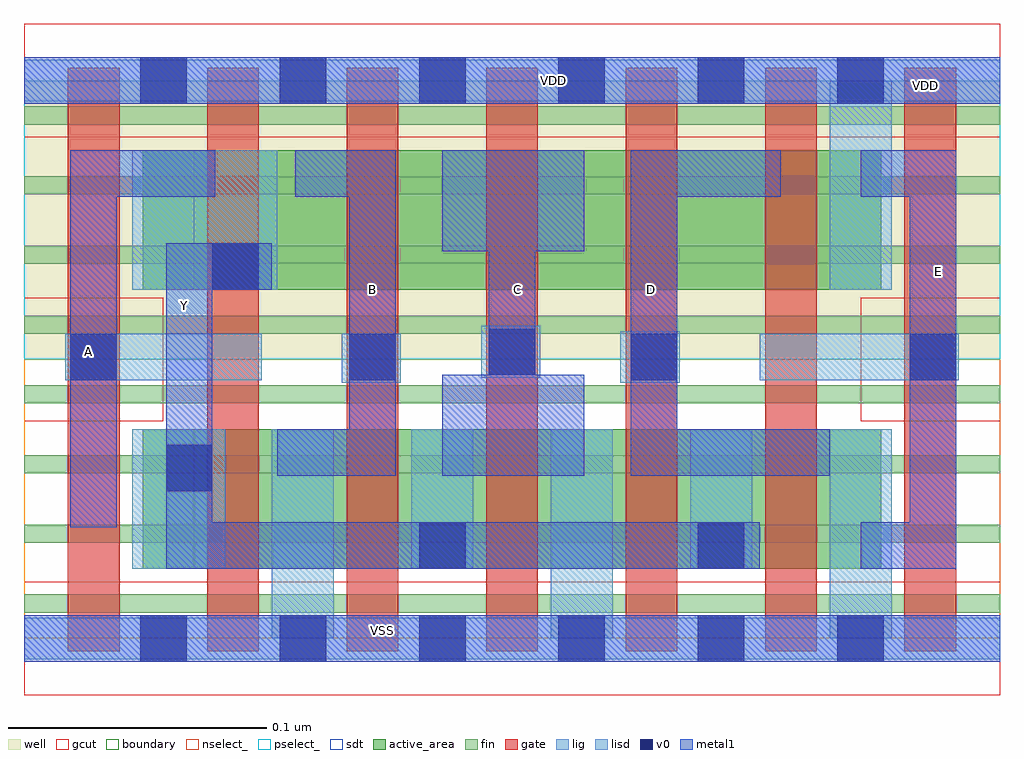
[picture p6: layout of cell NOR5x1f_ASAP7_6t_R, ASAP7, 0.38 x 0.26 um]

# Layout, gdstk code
import gdstk
lib = gdstk.Library(unit=1e-6, precision=2.5e-10)
def R(c, l, rs):  # rectangles x0, y0, x1, y1
    for r in rs: c.add(gdstk.rectangle(r[:2], r[2:], *l))
def A(c, l, x, y, w, h, nx, ny, dx, dy):  # array of equal rectangles
    R(c, l, [(x+i*dx, y+j*dy, x+i*dx+w, y+j*dy+h) for i in range(nx) for j in range(ny)])
def P(c, l, *ps):  # polygons
    for p in ps: c.add(gdstk.Polygon(p, *l))
well = (1, 0)
fin = (2, 0)
gate = (7, 0)
gcut = (10, 0)
active_area = (11, 0)
nselect_ = (12, 0)
pselect_ = (13, 0)
lig = (16, 0)
lisd = (17, 0)
v0 = (18, 0)
metal1 = (19, 0)
sdt = (88, 0)
boundary = (100, 0)

nor5x1f_asap7_6t_r = lib.new_cell('NOR5x1f_ASAP7_6t_R')
R(nor5x1f_asap7_6t_r, well, [(0,0.108,0.378,0.216)])
A(nor5x1f_asap7_6t_r, fin, 0, 0.01, 0.378, 0.007, 1, 7, 0, 0.027)
R(nor5x1f_asap7_6t_r, fin, [(0,0.172,0.378,0.179), (0,0.199,0.378,0.206), (0,0.199,0.378,0.206)])
A(nor5x1f_asap7_6t_r, gate, 0.017, -0.005, 0.02, 0.226, 7, 1, 0.054, 0)
R(nor5x1f_asap7_6t_r, gcut, [(0,-0.022,0.378,0.022), (0,0.084,0.054,0.132), (0.324,0.084,0.378,0.132), (0,0.194,0.378,0.238)])
R(nor5x1f_asap7_6t_r, active_area, [(0.046,0.027,0.332,0.081), (0.046,0.135,0.332,0.189)])
R(nor5x1f_asap7_6t_r, nselect_, [(0,0,0.378,0.108)])
R(nor5x1f_asap7_6t_r, pselect_, [(0,0.108,0.378,0.216)])
R(nor5x1f_asap7_6t_r, lig, [(0,-0.008,0.378,0.008), (0.123,0.099,0.146,0.118), (0.231,0.099,0.254,0.119), (0.016,0.1,0.092,0.118), (0.285,0.1,0.362,0.118), (0.177,0.101,0.2,0.121), (0,0.208,0.378,0.224)])
A(nor5x1f_asap7_6t_r, lisd, 0.096, 0, 0.024, 0.081, 3, 1, 0.108, 0)
R(nor5x1f_asap7_6t_r, lisd, [(0.042,0.027,0.078,0.081), (0.15,0.027,0.174,0.081), (0.258,0.027,0.282,0.081), (0.042,0.135,0.098,0.189), (0.312,0.135,0.336,0.216)])
A(nor5x1f_asap7_6t_r, v0, 0.045, -0.009, 0.018, 0.018, 6, 2, 0.054, 0.216)
R(nor5x1f_asap7_6t_r, v0, [(0.153,0.027,0.171,0.045), (0.261,0.027,0.279,0.045), (0.055,0.057,0.073,0.075), (0.018,0.1,0.036,0.118), (0.126,0.1,0.144,0.118), (0.235,0.1,0.253,0.118), (0.343,0.1,0.361,0.118), (0.18,0.102,0.198,0.12), (0.073,0.135,0.091,0.153)])
R(nor5x1f_asap7_6t_r, metal1, [(0,-0.009,0.378,0.009), (0,0.207,0.378,0.225)])
P(nor5x1f_asap7_6t_r, metal1, [(0.285,0.045),(0.073,0.045),(0.073,0.135),(0.096,0.135),(0.096,0.153),(0.055,0.153),(0.055,0.027),(0.285,0.027)],
  [(0.361,0.189),(0.324,0.189),(0.324,0.171),(0.343,0.171),(0.343,0.045),(0.324,0.045),(0.324,0.027),(0.361,0.027)],
  [(0.312,0.081),(0.253,0.081),(0.253,0.171),(0.293,0.171),(0.293,0.189),(0.235,0.189),(0.235,0.063),(0.312,0.063)],
  [(0.217,0.102),(0.198,0.102),(0.198,0.15),(0.217,0.15),(0.217,0.189),(0.162,0.189),(0.162,0.15),(0.18,0.15),(0.18,0.102),(0.162,0.102),(0.162,0.063),(0.217,0.063)],
  [(0.144,0.189),(0.105,0.189),(0.105,0.171),(0.126,0.171),(0.126,0.081),(0.098,0.081),(0.098,0.063),(0.144,0.063)],
  [(0.074,0.189),(0.018,0.189),(0.018,0.043),(0.036,0.043),(0.036,0.171),(0.074,0.171)])
A(nor5x1f_asap7_6t_r, sdt, 0.042, 0.027, 0.024, 0.054, 6, 1, 0.054, 0)
R(nor5x1f_asap7_6t_r, sdt, [(0.042,0.135,0.066,0.189), (0.312,0.135,0.336,0.189)])
R(nor5x1f_asap7_6t_r, boundary, [(0,0,0.378,0.216)])
nor5x1f_asap7_6t_r.add(gdstk.Label('B', (0.135,0.135), layer=19, texttype=251))
nor5x1f_asap7_6t_r.add(gdstk.Label('C', (0.191,0.135), layer=19, texttype=251))
nor5x1f_asap7_6t_r.add(gdstk.Label('VDD', (0.205,0.216), layer=19, texttype=251))
nor5x1f_asap7_6t_r.add(gdstk.Label('A', (0.025,0.111), layer=19, texttype=251))
nor5x1f_asap7_6t_r.add(gdstk.Label('VSS', (0.139,0.003), layer=19, texttype=251))
nor5x1f_asap7_6t_r.add(gdstk.Label('D', (0.243,0.135), layer=19, texttype=251))
nor5x1f_asap7_6t_r.add(gdstk.Label('E', (0.354,0.142), layer=19, texttype=251))
nor5x1f_asap7_6t_r.add(gdstk.Label('Y', (0.062,0.129), layer=19, texttype=251))
nor5x1f_asap7_6t_r.add(gdstk.Label('VDD', (0.349,0.214), layer=1, texttype=251))
nor5x1f_asap7_6t_r.add(gdstk.Label('VSS', (0.418,0.213), layer=3, texttype=251))

lib.write_gds('NOR5x1f_ASAP7_6t_R.gds')
